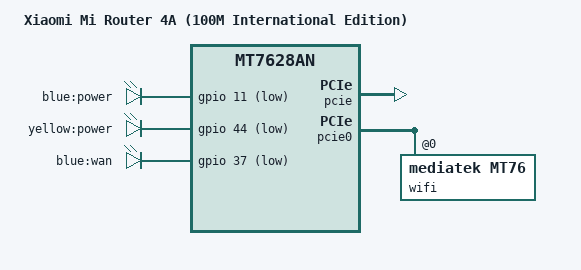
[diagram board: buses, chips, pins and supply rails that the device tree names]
// SPDX-License-Identifier: GPL-2.0-or-later OR MIT

#include "mt7628an_xiaomi_mi-router-4.dtsi"

/ {
	compatible = "xiaomi,mi-router-4a-100m-intl", "mediatek,mt7628an-soc";
	model = "Xiaomi Mi Router 4A (100M International Edition)";

	aliases {
		led-boot = &led_power_yellow;
		led-failsafe = &led_power_yellow;
		led-running = &led_power_blue;
		led-upgrade = &led_power_yellow;
		label-mac-device = &ethernet;
	};

	leds {
		compatible = "gpio-leds";

		led_power_blue: power_blue {
			label = "blue:power";
			gpios = <&gpio 11 GPIO_ACTIVE_LOW>;
		};

		led_power_yellow: power_yellow {
			label = "yellow:power";
			gpios = <&gpio 44 GPIO_ACTIVE_LOW>;
		};

		wan {
			label = "blue:wan";
			gpios = <&gpio 37 GPIO_ACTIVE_LOW>;
		};
	};

};

&partitions {
	partition@60000 {
		label = "overlay";
		reg = <0x60000 0x200000>;
		read-only;
	};

	partition@260000 {
		label = "firmware";
		reg = <0x260000 0xda0000>;
		compatible = "denx,uimage";
	};
};

&pcie {
	status = "okay";
};

&pcie0 {
	wifi@0,0 {
		compatible = "mediatek,mt76";
		reg = <0x0000 0 0 0 0>;
		mediatek,mtd-eeprom = <&factory 0x8000>;
		ieee80211-freq-limit = <5000000 6000000>;
	};
};

&ethernet {
	nvmem-cells = <&macaddr_factory_4>;
	nvmem-cell-names = "mac-address";
	mac-address-increment = <(-1)>;
};

&esw {
	mediatek,portmap = <0x3e>;
	mediatek,portdisable = <0x2a>;
};

&factory {
	compatible = "nvmem-cells";
	#address-cells = <1>;
	#size-cells = <1>;

	macaddr_factory_4: macaddr@4 {
		reg = <0x4 0x6>;
	};
};
